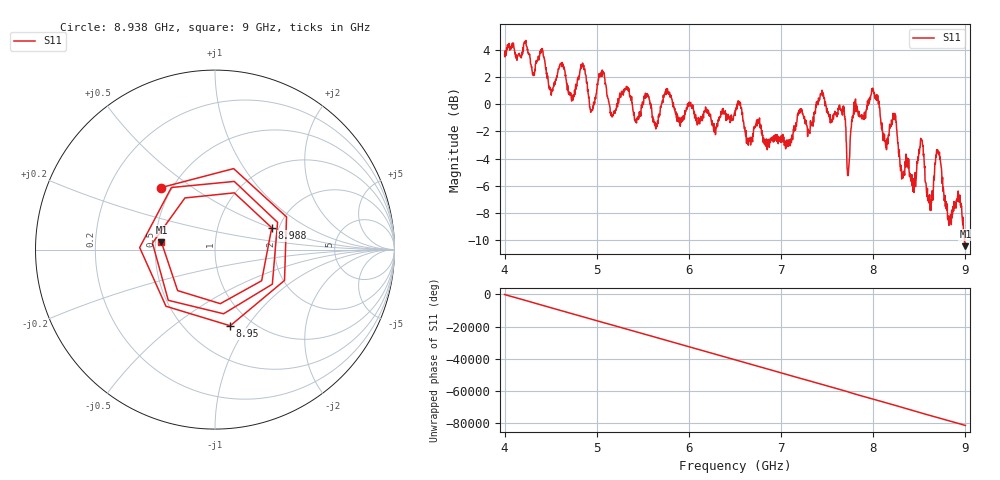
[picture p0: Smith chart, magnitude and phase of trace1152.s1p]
! Created with skrf 1.8.0 (http://scikit-rf.org).
# Hz S RI R 50.0
!freq ReS11 ImS11
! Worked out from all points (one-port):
!   1601 points, 4 GHz to 9 GHz, reference 50 ohm
!   lowest |S11| = -10.4 dB at 9 GHz (marker M1), VSWR 1.86, Z = 27 + j2.4 ohm
!   |S11| at or under -10 dB: 8.99056 GHz to end of sweep
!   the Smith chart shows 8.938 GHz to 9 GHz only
!   S11 on the Smith chart (normalised r, x): 8.938 GHz: 0.43, +0.38; 8.95 GHz: 0.80, -0.83; 8.988 GHz: 1.83, +0.50; 9 GHz: 0.54, +0.05
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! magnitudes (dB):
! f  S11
! 4 GHz  3.6
! 4.406 GHz  3.9
! 4.506 GHz  0.6
! 4.625 GHz  3.1
! 4.731 GHz  0.3
! 4.856 GHz  2.7
! 4.944 GHz  -0.5
! 5.05 GHz  2.4
! 5.162 GHz  -0.8
! 5.25 GHz  0.8
! 5.875 GHz  -0.8
! 6.5 GHz  -0.8
! 7.125 GHz  -2.6
! 7.447 GHz  0.8
! 7.75 GHz  -2.5
! 7.8 GHz  0.1
! 8 GHz  0.9
! 8.122 GHz  -2.2
! 8.375 GHz  -4.4
! 8.447 GHz  -5.5
! 8.522 GHz  -2.6
! 8.616 GHz  -7.8
! 8.703 GHz  -3.4
! 8.822 GHz  -8.9
! 8.938 GHz  -6.8
! 8.95 GHz  -7.3
! 8.988 GHz  -9.4
! 9 GHz  -10.4
